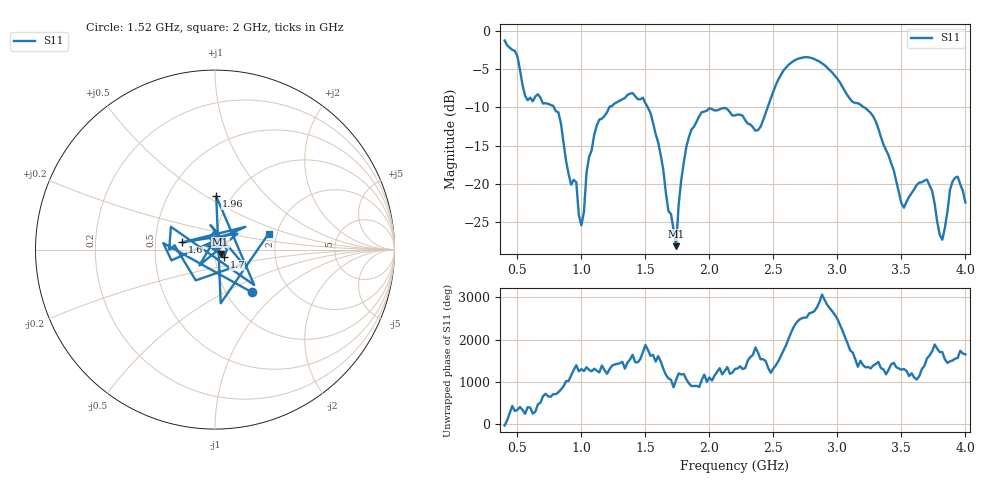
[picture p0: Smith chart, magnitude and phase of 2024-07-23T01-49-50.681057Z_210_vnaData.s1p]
!Created with skrf (http://scikit-rf.org).
# Hz S RI R 50.0
!freq ReS11 ImS11
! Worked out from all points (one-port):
!   181 points, 400 MHz to 4 GHz, reference 50 ohm
!   lowest |S11| = -28.1 dB at 1.74 GHz (marker M1), VSWR 1.08, Z = 53.1 - j2.57 ohm
!   |S11| at or under -10 dB: 785.9 MHz to 1.218 GHz (431.7 MHz wide, 43.1 % of centre); 1.519 GHz to 2.455 GHz (936.3 MHz wide, 47.1 % of centre); 3.209 GHz to end of sweep
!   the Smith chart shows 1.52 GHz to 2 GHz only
!   S11 on the Smith chart (normalised r, x): 1.52 GHz: 1.31, -0.69; 1.6 GHz: 0.69, +0.06; 1.7 GHz: 1.10, -0.09; 1.96 GHz: 0.85, +0.55; 2 GHz: 1.81, +0.36
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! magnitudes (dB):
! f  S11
! 400 MHz  -1.2
! 580 MHz  -9.1
! 820 MHz  -10.6
! 860 MHz  -14.5
! 960 MHz  -19.8
! 1 GHz  -25.4
! 1.04 GHz  -18.5
! 1.12 GHz  -12.4
! 1.3 GHz  -9.1
! 1.52 GHz  -10.0
! 1.6 GHz  -14.6
! 1.7 GHz  -23.9
! 1.74 GHz  -28.1
! 1.76 GHz  -22.7
! 1.84 GHz  -13.9
! 1.96 GHz  -10.5
! 2 GHz  -10.1
! 2.2 GHz  -11.0
! 2.38 GHz  -13.0
! 2.66 GHz  -3.9
! 3.1 GHz  -8.9
! 3.28 GHz  -11.2
! 3.5 GHz  -22.5
! 3.56 GHz  -21.7
! 3.7 GHz  -19.4
! 3.82 GHz  -27.3
! 3.9 GHz  -19.7
! 4 GHz  -22.4
